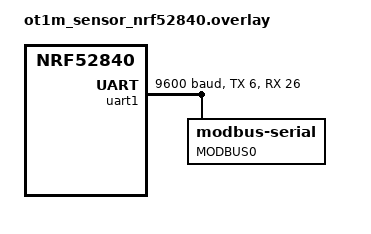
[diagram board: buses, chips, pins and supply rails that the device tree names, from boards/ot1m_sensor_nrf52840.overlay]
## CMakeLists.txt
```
# SPDX-License-Identifier: Apache-2.0

cmake_minimum_required(VERSION 3.13.1)

set(BOARD ot1m_sensor_nrf52840)

#if (NOT CMAKE_BUILD_TYPE)
#    set(CMAKE_BUILD_TYPE ZDebug)
#endif()
# Point to the build type-specific config file
# set(CONF_FILE "prj.conf overlay-ot.conf overlay-dtls.conf")

find_package(Zephyr HINTS $ENV{ZEPHYR_BASE})

include_directories(${CMAKE_SOURCE_DIR}/build/zephyr/include/generated)

file(STRINGS
        ${CMAKE_SOURCE_DIR}/build/zephyr/include/generated/autoconf.h
        LIST_OF_CONFIGS
        REGEX "^#define CONFIG_"
        ENCODING "UTF-8"
        )
foreach (CONFIG ${LIST_OF_CONFIGS})
    string(REPLACE " " ";" CONFIG_ITEM_LIST ${CONFIG})
    list(GET CONFIG_ITEM_LIST 1 CONFIG_ITEM_NAME)
    list(GET CONFIG_ITEM_LIST 2 CONFIG_ITEM_VALUE)
#    message(${CONFIG_ITEM_NAME})
#    message(${CONFIG_ITEM_VALUE})
    add_definitions('-D${CONFIG_ITEM_NAME}=${CONFIG_ITEM_VALUE}')
    set(${CONFIG_ITEM_NAME} ${CONFIG_ITEM_VALUE})
endforeach()

include_directories(${ZEPHYR_BASE}/subsys/net/ip ../../../modules/lib/openthread/include)


project(lwm2m_sensor)
target_sources(app PRIVATE src/main.c src/senseair_s8.c)

target_include_directories(app PRIVATE ${CMAKE_SOURCE_DIR}/src)
```

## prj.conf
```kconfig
# 通用配置
CONFIG_GPIO=y
CONFIG_NRFX_GPIOTE=n
CONFIG_CONSOLE=y
CONFIG_SHELL_BACKENDS=n
CONFIG_UART_CONSOLE=y
CONFIG_SERIAL=y
CONFIG_UART_INTERRUPT_DRIVEN=y
CONFIG_UART_LINE_CTRL=y

CONFIG_USB_DEVICE_STACK=y
CONFIG_USB_DEVICE_PRODUCT="OT1M Sensor"
CONFIG_USB_UART_CONSOLE=y

CONFIG_BOOT_BANNER=n
CONFIG_LOG=y
CONFIG_BOOTLOADER_MCUBOOT=n
CONFIG_SYS_POWER_MANAGEMENT=y
CONFIG_DEVICE_POWER_MANAGEMENT=y
CONFIG_PRINTK=y

CONFIG_POLL=y
CONFIG_LOG_STRDUP_BUF_COUNT=8
# CONFIG_REBOOT=y
CONFIG_LOG_BACKEND_UART=y
CONFIG_LOG_BACKEND_RTT=n
CONFIG_LOG_DEFAULT_LEVEL=3
CONFIG_SENSOR_LOG_LEVEL_DBG=n
CONFIG_RING_BUFFER=y

CONFIG_SYS_POWER_MANAGEMENT=y
CONFIG_DEVICE_POWER_MANAGEMENT=y

# Kernel options
CONFIG_MAIN_STACK_SIZE=2048
CONFIG_ENTROPY_GENERATOR=y
CONFIG_TEST_RANDOM_GENERATOR=y
CONFIG_INIT_STACKS=y
CONFIG_HEAP_MEM_POOL_SIZE=32768

CONFIG_NEWLIB_LIBC=y
CONFIG_NEWLIB_LIBC_FLOAT_PRINTF=y
CONFIG_CBPRINTF_FP_SUPPORT=y
CONFIG_SYSTEM_WORKQUEUE_STACK_SIZE=2048
CONFIG_SHELL_STACK_SIZE=3072


CONFIG_NETWORKING=y
CONFIG_NET_IPV6=y
CONFIG_NET_IF_UNICAST_IPV6_ADDR_COUNT=3
CONFIG_NET_IF_MCAST_IPV6_ADDR_COUNT=2
CONFIG_NET_IPV4=n
CONFIG_NET_DHCPV4=n
CONFIG_NET_IF_UNICAST_IPV4_ADDR_COUNT=3
CONFIG_NET_IF_MCAST_IPV4_ADDR_COUNT=2
CONFIG_NET_PKT_RX_COUNT=10
CONFIG_NET_PKT_TX_COUNT=10
CONFIG_NET_BUF_RX_COUNT=10
CONFIG_NET_BUF_TX_COUNT=10
CONFIG_NET_MAX_CONTEXTS=5

CONFIG_NET_CONFIG_NEED_IPV6=y
CONFIG_NET_CONFIG_NEED_IPV4=y
CONFIG_NET_CONFIG_SETTINGS=y

CONFIG_APP_SETTINGS=y
CONFIG_APP_LWM2M=y
CONFIG_BOARD_HAS_NRF5_BOOTLOADER=y

CONFIG_LWM2M_PEER_PORT=5683
CONFIG_MODBUS=y
CONFIG_MODBUS_SERIAL=y
CONFIG_MODBUS_ROLE_CLIENT=y
CONFIG_RING_BUFFER=y

# CONFIG_LIS2DH=y
#
# CONFIG_FLASH=y
# CONFIG_NORDIC_QSPI_NOR=y
# CONFIG_FLASH_LOG_LEVEL_DBG=n
```

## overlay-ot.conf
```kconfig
CONFIG_APP_OPENTHREAD=y

# Main
CONFIG_MAIN_STACK_SIZE=2048

CONFIG_NEWLIB_LIBC=y

# Disable TCP and IPv4 (TCP disabled to avoid heavy traffic)
CONFIG_NET_TCP=n
CONFIG_NET_IPV4=n

CONFIG_NET_IPV6_NBR_CACHE=n
CONFIG_NET_IPV6_MLD=n
CONFIG_NET_CONFIG_NEED_IPV4=n
CONFIG_NET_CONFIG_MY_IPV4_ADDR=""
CONFIG_NET_CONFIG_PEER_IPV4_ADDR=""

CONFIG_SYSTEM_WORKQUEUE_STACK_SIZE=2048

# Enable OpenThread shell
CONFIG_SHELL=y
CONFIG_OPENTHREAD_SHELL=y
CONFIG_SHELL_STACK_SIZE=3072

CONFIG_NET_L2_OPENTHREAD=y

CONFIG_OPENTHREAD_DEBUG=y
CONFIG_OPENTHREAD_L2_DEBUG=y
CONFIG_OPENTHREAD_L2_LOG_LEVEL_INF=y

# mbedTLS tweaks
CONFIG_MBEDTLS_SSL_MAX_CONTENT_LEN=768


# Enable ping sender support
CONFIG_OPENTHREAD_PING_SENDER=y


# A sample configuration to enable Thread Joiner, uncomment if needed
CONFIG_OPENTHREAD_JOINER=y
#CONFIG_OPENTHREAD_JOINER_AUTOSTART=y

# Enable diagnostic module, uncomment if needed
#CONFIG_OPENTHREAD_DIAG=yAPP_MAX_COAP_MSG_LEN

CONFIG_OPENTHREAD_SHELL=n
CONFIG_OPENTHREAD_SLAAC=y
CONFIG_OPENTHREAD_MTD=y

CONFIG_APP_OPENTHREAD_SLEEPY_POLL_PERIOD=100
CONFIG_APP_OPENTHREAD_JOINER_PSKD="J01NME"
CONFIG_NET_CONFIG_LOG_LEVEL_INF=y

CONFIG_OPENTHREAD_THREAD_VERSION_1_2=y
```

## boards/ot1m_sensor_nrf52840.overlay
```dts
&uart1 {
	compatible = "nordic,nrf-uarte";
	current-speed = <9600>;
	status = "okay";
	tx-pin = <6>;
	rx-pin = <26>;

    modbus0 {
		compatible = "zephyr,modbus-serial";
		label = "MODBUS0";
		status = "okay";
	};
    /*08*/
};
```

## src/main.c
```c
/*
 * main 线程，进行公共的初始化操作，然后启动其他线程
 */

#include <zephyr.h>
#include <logging/log.h>
LOG_MODULE_REGISTER(main, LOG_LEVEL_INF);
#include <device.h>
#include <drivers/sensor.h>
#include <stdio.h>
#include <devicetree.h>
#include <drivers/gpio.h>
#include <pm/pm.h>
#include <math.h>
#include "app_settings.h"
#include "app_openthread.h"
#include "senseair_s8.h"
#include <net/openthread.h>
#include <openthread/link.h>
#include <openthread/thread.h>
#include <openthread/ping_sender.h>
#include <app_lwm2m.h>
#include <modbus/modbus.h>
#include <sys/ring_buffer.h>
#include <usb/usb_device.h>
#include <logging/log_backend.h>
//#include <drivers/flash.h>


#define FLASH_DEVICE DT_LABEL(DT_INST(0, nordic_qspi_nor))
#define FLASH_NAME "JEDEC QSPI-NOR"
#define FLASH_TEST_REGION_OFFSET 0xff000
#define FLASH_SECTOR_SIZE        4096

static struct k_work start_network;
static struct k_work_delayable send_ping;
static struct k_work_delayable start_lwm2m;
static struct k_work_delayable manage_lwm2m;
static struct k_work_delayable read_co2;
static bool lwm2m_setup=false;

RING_BUF_ITEM_DECLARE_POW2(server_ring_buf, 5);

void printIp6Address(const otIp6Address * addr){
    char buf[40];
    net_addr_ntop(AF_INET6, addr, buf, 40);
    LOG_INF("+IPADDR:%s", log_strdup(buf));
}

void handlePingReply(const otPingSenderReply *aReply, void *aContext) {
    LOG_INF("ping response");
    printIp6Address(&aReply->mSenderAddress);
    ring_buf_put(&server_ring_buf, (uint8_t *)&aReply->mSenderAddress, sizeof(aReply->mSenderAddress));
}

/**
 * 检查网络启动，并不断尝试 JOIN
 * 多次不成功则进入低功耗模式
 * @param work
 */
void startNetwork(struct k_work *work) {
    int static retry = 0;
    for(int i=0; i< 10; i++){
        if(app_ot_is_connected()){
            LOG_INF("thread network connected");
            break;
        }
        k_sleep(K_MSEC(1000));
    }
    if (!app_ot_is_connected()) {
        app_ot_start_join();
        retry += 1;
        k_work_submit(&start_network);
    } else {
        retry = 0;
        otInstance * instance = openthread_get_default_instance();
        otError  error        = OT_ERROR_NONE;
        __ASSERT(instance, "OT instance is NULL");
        LOG_INF("thread network ip:");
        const otNetifAddress *unicastAddrs = otIp6GetUnicastAddresses(instance);
        for (const otNetifAddress *addr = unicastAddrs; addr; addr = addr->mNext)
        {
            printIp6Address(&addr->mAddress);
        }
        LOG_INF("start ping");
        k_work_schedule(&send_ping, K_SECONDS(1));
    }

}

void sendPing(struct k_work *work) {
    if(!app_ot_is_connected()) {
        k_work_schedule(&send_ping, K_SECONDS(30));
//        k_work_submit(&start_network);
        return;
    }
    otError  error        = OT_ERROR_NONE;
    otInstance * instance = openthread_get_default_instance();
    __ASSERT(instance, "OT instance is NULL");
    otPingSenderConfig config;
    memset(&config, 0, sizeof(config));
    LOG_INF("sending ping");
    error = otIp6AddressFromString("ff03::fd", &config.mDestination);
    if(error != OT_ERROR_NONE){
        LOG_ERR("parse address error");
    }
    config.mReplyCallback      = handlePingReply;
    config.mCount = 2;
    otPingSenderPing(instance, &config);

    k_work_schedule(&start_lwm2m, K_SECONDS(4));
}

void startLWM2M(struct k_work *work) {
    if(!app_ot_is_connected()) {
        k_work_schedule(&start_lwm2m, K_SECONDS(30));
        return;
    }
    otIp6Address serverAddress;
    int ret;
    ret = (int)ring_buf_get(&server_ring_buf, (uint8_t *) &serverAddress, sizeof(serverAddress));
    if(ret != sizeof(serverAddress)){
        LOG_WRN("empty address already, re ping");
        ring_buf_reset(&server_ring_buf);
        k_work_submit(&send_ping);
        return;
    }
    LOG_INF("connecting to lwm2m server:");
    printIp6Address(&serverAddress);
    app_lwm2m_settings lwm2m_settings = {
            .enable_psk = 0U,
            .server_addr = {0x00},
            .server_is_bootstrap = false,
    };
    net_addr_ntop(AF_INET6, &serverAddress, lwm2m_settings.server_addr, NET_IPV6_ADDR_LEN);
    if(!lwm2m_setup) {
        ret = app_lwm2m_client_setup(&lwm2m_settings);
        if(ret ==0){
            (void)lwm2m_engine_create_obj_inst("3300/0");
            (void)lwm2m_engine_set_string("3300/0/5701", "ppm");
            (void)lwm2m_engine_set_string("3300/0/5751", "carbon_dioxide");
            lwm2m_setup = true;
            app_lwm2m_client_start();
        } else {
            LOG_ERR("lwm2m setup error %d", ret);
        }
    } else {
        app_lwm2m_client_stop();
        char *server_url;
        uint16_t server_url_len;
        uint8_t server_url_flags;
        /* Server URL */
        ret = lwm2m_engine_get_res_data("0/0/0",
                                        (void **)&server_url, &server_url_len,
                                        &server_url_flags);
        if (ret < 0) {
            LOG_ERR("can not read server url");
            return;
        }

        (void)snprintk(server_url, server_url_len, "coap%s//%s%s%s",
                       lwm2m_settings.enable_psk ? "s:" : ":",
                       strchr(lwm2m_settings.server_addr, ':') ? "[" : "", lwm2m_settings.server_addr,
                       strchr(lwm2m_settings.server_addr, ':') ? "]" : "");
        k_sleep(K_MSEC(100));
        app_lwm2m_client_start();
    }
    k_work_schedule(&manage_lwm2m, K_SECONDS(30));
//    int pos = 0;
//    ret=0;
//    char buf[40];
//    otExtAddress extAddress;
//    otInstance * instance = openthread_get_default_instance();
//    __ASSERT(instance, "OT instance is NULL");
//
//    app_lwm2m_settings lwm2m_settings = {
//            .enable_psk = 0U,
//            .server_addr = {0x00},
//            .server_is_bootstrap = false,
//    };
//    net_addr_ntop(AF_INET6, &serverAddress, lwm2m_settings.server_addr, NET_IPV6_ADDR_LEN);
//    ret = app_lwm2m_client_setup(&lwm2m_settings);
//
//    if(ret !=0){
//        LOG_ERR("lwmwm setup error %d", ret);
//    } else {
//        app_lwm2m_client_start();
//    }
}

void manageLWM2M(struct k_work *work) {
    static enum app_lwm2m_status status = APP_LWM2M_CONNECT;
    enum app_lwm2m_status new_status = app_lwm2m_get_status();
    if(new_status == APP_LWM2M_DISCONNECT && status == APP_LWM2M_DISCONNECT) {
        status = APP_LWM2M_CONNECT;
        k_work_schedule(&start_lwm2m, K_SECONDS(1));
        return;
    }
    status = new_status;
    k_work_schedule(&manage_lwm2m, K_SECONDS(30));
}

void readCO2(struct k_work *work) {
    struct float32_value v;
    v.val1 = senseair_s8_read();
    v.val2 = 0;
    if(app_lwm2m_get_status() == APP_LWM2M_CONNECT) {
        lwm2m_engine_set_float32("3300/0/5700", &v);
    }
    k_work_schedule(&read_co2, K_SECONDS(60));
}

void main(void) {
    const struct log_backend * log_backend_current = log_backend_get(0);
    log_backend_deactivate(log_backend_current);
    LOG_INF("OT1M Starting...");
    int ret;
    app_init_settings();

    k_work_init(&start_network, startNetwork);
    k_work_init_delayable(&send_ping, sendPing);
    k_work_init_delayable(&start_lwm2m, startLWM2M);
    k_work_init_delayable(&manage_lwm2m, manageLWM2M);
    k_work_init_delayable(&read_co2, readCO2);

    k_work_submit(&start_network);

    ret = senseair_s8_init();
    if(ret){
        LOG_ERR("init modbus error");
    } else {
        k_work_schedule(&read_co2, K_SECONDS(5));
    }
    const struct device *dev = DEVICE_DT_GET(DT_CHOSEN(zephyr_console));
    uint32_t dtr = 0;

    if (usb_enable(NULL)) {
        return;
    }
    /* Poll if the DTR flag was set */
    while (!dtr) {
        uart_line_ctrl_get(dev, UART_LINE_CTRL_DTR, &dtr);
        /* Give CPU resources to low priority threads. */
        k_sleep(K_SECONDS(1));
    }
    log_backend_activate(log_backend_current, log_backend_current->cb->ctx);
    while (true) {
        k_sleep(K_SECONDS(10));
    }
}
```

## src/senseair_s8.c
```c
//
// Created by yplam on 27/1/2022.
//

#include "senseair_s8.h"
#include <zephyr.h>
#include <logging/log.h>
LOG_MODULE_REGISTER(s8, LOG_LEVEL_INF);
#include <drivers/gpio.h>
#include <modbus/modbus.h>

static int client_iface;

const static struct modbus_iface_param client_param = {
        .mode = MODBUS_MODE_RTU,
        .rx_timeout = 500000,
        .serial = {
                .baud = 9600,
                .parity = UART_CFG_PARITY_NONE,
        },
};

int senseair_s8_init(void) {
    const char iface_name[] = {DT_PROP(DT_INST(0, zephyr_modbus_serial), label)};

    client_iface = modbus_iface_get_by_name(iface_name);

    return modbus_init_client(client_iface, client_param);
}

uint16_t senseair_s8_read(void) {
    uint16_t sensor_value[1];
    modbus_read_input_regs(
        client_iface,
        0xFE,
        3,
        sensor_value,
        1);
    return sensor_value[0];
}
```

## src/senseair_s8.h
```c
//
// Created by yplam on 27/1/2022.
//

#ifndef LWM2M_SENSOR_SENSEAIR_S8_H
#define LWM2M_SENSOR_SENSEAIR_S8_H
#include <stdio.h>
int senseair_s8_init(void);
uint16_t senseair_s8_read(void);
#endif //LWM2M_SENSOR_SENSEAIR_S8_H
```
